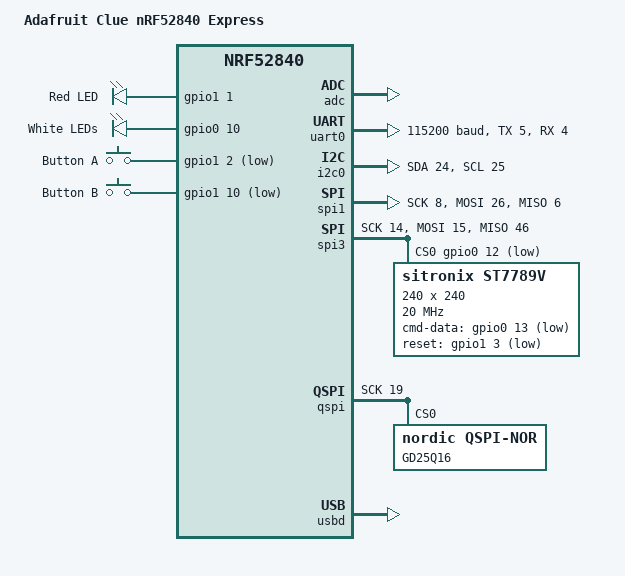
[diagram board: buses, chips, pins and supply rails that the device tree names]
/*
 * Copyright (c) 2020 Tobias Svehagen
 *
 * SPDX-License-Identifier: Apache-2.0
 */

/dts-v1/;
#include <nordic/nrf52840_qiaa.dtsi>
//TODO: microbit connector
//#include "feather_connector.dtsi"

/ {
	model = "Adafruit Clue nRF52840 Express";
	compatible = "adafruit,clue-nrf52840";

	chosen {
		zephyr,console = &uart0;
		zephyr,shell-uart = &uart0;
		zephyr,uart-mcumgr = &uart0;
		zephyr,bt-mon-uart = &uart0;
		zephyr,bt-c2h-uart = &uart0;
		zephyr,sram = &sram0;
		zephyr,flash = &flash0;
		zephyr,code-partition = &slot0_partition;
	};

	leds {
		compatible = "gpio-leds";
		led0: led_0 {
			gpios = <&gpio1 1 0>;
			label = "Red LED";
		};
		led1: led_1 {
			gpios = <&gpio0 10 0>;
			label = "White LEDs";
		};
	};

	buttons {
		compatible = "gpio-keys";
		button0: button_0 {
			gpios = <&gpio1 2 (GPIO_PULL_UP | GPIO_ACTIVE_LOW)>;
			label = "Button A";
		};
		button1: button_1 {
			gpios = <&gpio1 10 (GPIO_PULL_UP | GPIO_ACTIVE_LOW)>;
			label = "Button B";
		};
	};

	/* These aliases are provided for compatibility with samples */
	aliases {
		led0 = &led0;
		led1 = &led1;
		sw0 = &button0;
	};
};

&adc {
	status = "okay";
};

&gpiote {
	status = "okay";
};

&gpio0 {
	status = "okay";
};

&gpio1 {
	status = "okay";
};

&uart0 {
	compatible = "nordic,nrf-uart";
	current-speed = <115200>;
	status = "okay";
	tx-pin = <5>;
	rx-pin = <4>;
};

&i2c0 {
	status = "okay";
	sda-pin = <24>;
	scl-pin = <25>;
};

&spi1 {
	compatible = "nordic,nrf-spi";
	status = "okay";
	sck-pin = <8>;
	mosi-pin = <26>;
	miso-pin = <6>;
};

&spi3 {
	status = "okay";
	sck-pin = <14>;
	miso-pin = <46>;
	mosi-pin = <15>;
	cs-gpios = <&gpio0 12 GPIO_ACTIVE_LOW>;

	st7789v@0 {
		compatible = "sitronix,st7789v";
		label = "ST7789V";
		spi-max-frequency = <20000000>;
		reg = <0>;
		cmd-data-gpios = <&gpio0 13 GPIO_ACTIVE_LOW>;
		reset-gpios = <&gpio1 3 GPIO_ACTIVE_LOW>;
		width = <240>;
		height = <240>;
		x-offset = <80>;
		y-offset = <0>;
		vcom = <0x19>;
		gctrl = <0x35>;
		vrhs = <0x12>;
		vdvs = <0x20>;
		mdac = <0xa0>;
		gamma = <0x01>;
		colmod = <0x05>;
		lcm = <0x2c>;
		porch-param = [0c 0c 00 33 33];
		cmd2en-param = [5a 69 02 01];
		pwctrl1-param = [a4 a1];
		pvgam-param = [D0 04 0D 11 13 2B 3F 54 4C 18 0D 0B 1F 23];
		nvgam-param = [D0 04 0C 11 13 2C 3F 44 51 2F 1F 1F 20 23];
		ram-param = [00 F0];
		rgb-param = [CD 08 14];
	};
};

&qspi {
	status = "okay";
	sck-pin = <19>;
	io-pins = <17>, <22>, <23>, <21>;
	csn-pins = <20>;
	gd25q16: gd25q16@0 {
		compatible = "nordic,qspi-nor";
		reg = <0>;
		writeoc = "pp4io";
		readoc = "read4io";
		sck-frequency = <16000000>;
		label = "GD25Q16";
		jedec-id = [c8 40 15];
		size = <16777216>;
		has-dpd;
		t-enter-dpd = <20000>;
		t-exit-dpd = <20000>;
	};
};

&flash0 {
	/*
	 * For more information, see:
	 * https://docs.zephyrproject.org/latest/guides/dts/legacy-macros.html#legacy-flash-partitions
	 */
	partitions {
		compatible = "fixed-partitions";
		#address-cells = <1>;
		#size-cells = <1>;
/*
		slot0_partition: partition@0 {
			label = "image-0";
			reg = <0x00000000 0x00067000>;
		};
*/
/*
		boot_partition: partition@0 {
			label = "mcuboot";
			reg = <0x000000000 0x0000C000>;
		};
*/
		slot0_partition: partition@26000 {
			label = "image-0";
			reg = <0x00026000 0x00067000>;
		};
/*
		slot1_partition: partition@73000 {
			label = "image-1";
			reg = <0x00073000 0x00067000>;
		};
		scratch_partition: partition@da000 {
			label = "image-scratch";
			reg = <0x000da000 0x0001e000>;
		};
*/
		/*
		 * The flash starting at 0x000f8000 and ending at
		 * 0x000fffff is reserved for use by the application.
		 */

		/* Storage partition will be used by FCB/NFFS/NVS if enabled. */
		storage_partition: partition@f8000 {
			label = "storage";
			reg = <0x000f8000 0x00008000>;
		};
	};
};

&usbd {
	compatible = "nordic,nrf-usbd";
	status = "okay";
};
